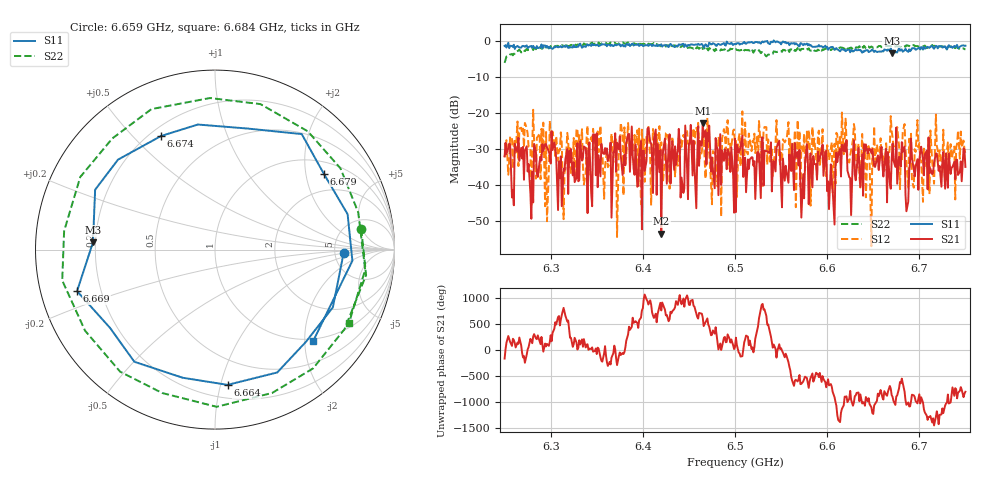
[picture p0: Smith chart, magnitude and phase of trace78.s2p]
# Hz S RI R 50
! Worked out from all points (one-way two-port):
!   401 points, 6.25 GHz to 6.75 GHz, reference 50 ohm
!   highest |S21| = -22.86 dB at 6.465 GHz (marker M1); lowest = -53.6 dB at 6.42 GHz (marker M2)
!   lowest |S11| = -3.3 dB at 6.67 GHz (marker M3), VSWR 5.27, Z = 9.49 + j1.42 ohm
!   |S11| at or under -10 dB: nowhere
!   |S22| runs from -6.0 to -0.3 dB; largest |S21 - S12| = 0.14
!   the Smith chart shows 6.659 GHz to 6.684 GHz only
!   S11 on the Smith chart (normalised r, x): 6.659 GHz: 6.01, -0.50; 6.664 GHz: 0.30, -1.05; 6.669 GHz: 0.11, -0.15; 6.674 GHz: 0.24, +0.61; 6.679 GHz: 1.35, +2.53; 6.684 GHz: 0.95, -2.19
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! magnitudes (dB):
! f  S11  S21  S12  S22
! 6.25 GHz  -1.3  -32.1  -32.3  -6.0
! 6.279 GHz  -1.3  -49.4  -45.6  -2.3
! 6.294 GHz  -1.2  -28.7  -45.9  -1.5
! 6.31 GHz  -1.5  -38.1  -30.4  -1.3
! 6.334 GHz  -1.8  -33.2  -24.5  -0.6
! 6.385 GHz  -0.8  -25.8  -27.6  -0.7
! 6.396 GHz  -1.3  -31.9  -24.3  -0.6
! 6.408 GHz  -0.8  -28.0  -32.9  -0.8
! 6.418 GHz  -1.1  -36.4  -23.6  -1.1
! 6.42 GHz  -0.9  -53.6  -28.1  -0.9
! 6.465 GHz  -1.1  -22.9  -28.2  -2.2
! 6.5 GHz  -0.7  -27.1  -29.3  -2.5
! 6.584 GHz  -1.5  -40.7  -23.9  -2.5
! 6.659 GHz  -2.9  -29.4  -32.3  -1.7
! 6.664 GHz  -2.4  -30.0  -28.4  -1.3
! 6.668 GHz  -2.7  -39.4  -29.1  -1.3
! 6.669 GHz  -1.9  -41.1  -20.8  -1.4
! 6.67 GHz  -3.3  -32.8  -25.0  -1.2
! 6.674 GHz  -3.1  -35.0  -28.9  -1.5
! 6.679 GHz  -2.6  -32.4  -41.2  -1.5
! 6.684 GHz  -2.5  -29.3  -23.1  -1.4
! 6.75 GHz  -1.2  -35.0  -31.4  -2.3
